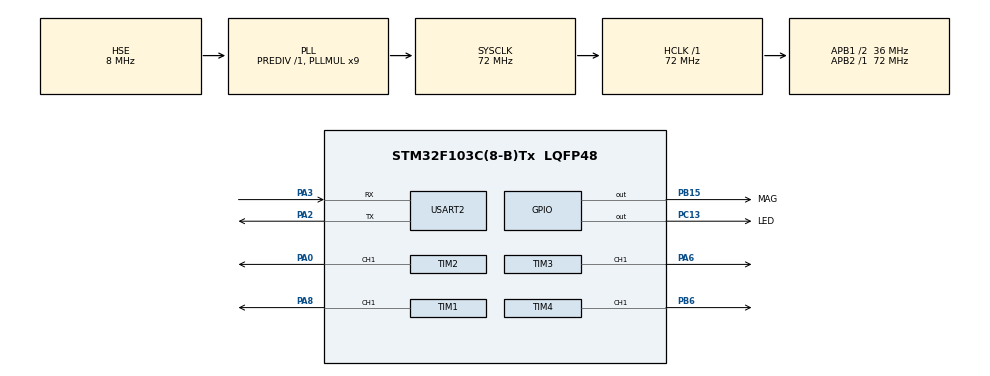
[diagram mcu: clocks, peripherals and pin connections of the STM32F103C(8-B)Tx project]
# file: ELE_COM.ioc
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Mcu.Family=STM32F1
Mcu.Name=STM32F103C(8-B)Tx
Mcu.Package=LQFP48
NVIC.PriorityGroup=NVIC_PRIORITYGROUP_4
NVIC.USART2_IRQn=true\:0\:0\:false\:false\:true\:true\:true\:true
PA0-WKUP.Signal=S_TIM2_CH1_ETR
PA13.Mode=Serial_Wire
PA13.Signal=SYS_JTMS-SWDIO
PA14.Mode=Serial_Wire
PA14.Signal=SYS_JTCK-SWCLK
PA2.Mode=Asynchronous
PA2.Signal=USART2_TX
PA3.Mode=Asynchronous
PA3.Signal=USART2_RX
PA6.Signal=S_TIM3_CH1
PA8.Signal=S_TIM1_CH1
PB15.GPIO_Label=MAG
PB15.Signal=GPIO_Output
PB6.Signal=S_TIM4_CH1
PC13-TAMPER-RTC.GPIO_Label=LED
PC13-TAMPER-RTC.Signal=GPIO_Output
PD0-OSC_IN.Mode=HSE-External-Oscillator
PD0-OSC_IN.Signal=RCC_OSC_IN
PD1-OSC_OUT.Mode=HSE-External-Oscillator
PD1-OSC_OUT.Signal=RCC_OSC_OUT
ProjectManager.HeapSize=0x200
ProjectManager.StackSize=0x400
ProjectManager.TargetToolchain=STM32CubeIDE
RCC.AHBFreq_Value=72000000
RCC.APB1CLKDivider=RCC_HCLK_DIV2
RCC.APB1Freq_Value=36000000
RCC.APB1TimFreq_Value=72000000
RCC.APB2Freq_Value=72000000
RCC.APB2TimFreq_Value=72000000
RCC.HCLKFreq_Value=72000000
RCC.PLLMUL=RCC_PLL_MUL9
RCC.PLLSourceVirtual=RCC_PLLSOURCE_HSE
RCC.SYSCLKFreq_VALUE=72000000
RCC.SYSCLKSource=RCC_SYSCLKSOURCE_PLLCLK
RCC.USBFreq_Value=72000000
SH.S_TIM1_CH1.0=TIM1_CH1,PWM Generation1 CH1
SH.S_TIM2_CH1_ETR.0=TIM2_CH1,PWM Generation1 CH1
SH.S_TIM3_CH1.0=TIM3_CH1,PWM Generation1 CH1
SH.S_TIM4_CH1.0=TIM4_CH1,PWM Generation1 CH1
TIM1.Channel-PWM\ Generation1\ CH1=TIM_CHANNEL_1
TIM1.Period=399
TIM1.Prescaler=3599
TIM2.Channel-PWM\ Generation1\ CH1=TIM_CHANNEL_1
TIM2.Period=399
TIM2.Prescaler=3599
TIM3.Channel-PWM\ Generation1\ CH1=TIM_CHANNEL_1
TIM3.Period=399
TIM3.Prescaler=3599
TIM4.Channel-PWM\ Generation1\ CH1=TIM_CHANNEL_1
TIM4.Period=399
TIM4.Prescaler=3599
USART2.VirtualMode=VM_ASYNC
board=custom

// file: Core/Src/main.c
/* USER CODE BEGIN Header */
/**
  ******************************************************************************
  * @file           : main.c
  * @brief          : Main program body
  ******************************************************************************
  * @attention
  *
  * Copyright (c) 2024 STMicroelectronics.
  * All rights reserved.
  *
  * This software is licensed under terms that can be found in the LICENSE file
  * in the root directory of this software component.
  * If no LICENSE file comes with this software, it is provided AS-IS.
  *
  ******************************************************************************
  */
/* USER CODE END Header */
#include "main.h"
#include "tim.h"
#include "usart.h"
#include "gpio.h"

/* USER CODE BEGIN Includes */

#include "Kine.h"
#include "servo.h"
#include "stm32f1xx_ll_rcc.h"

/* USER CODE END Includes */

void SystemClock_Config(void);

/* USER CODE BEGIN 0 */
//70 32 32 32 32 32 32 FF FF FF
uint8_t data[5] = {0};
/* USER CODE END 0 */

void checkHexArray(uint8_t data[], int length) {

    switch(data[0]) {
    case 0x31:
      Arm_Init();
      HAL_Delay(2000);
      Arm_Move_fake(11);
      HAL_Delay(2000);
      Arm_Move_fake(10);
      HAL_Delay(2000);
      Arm_Init();
      HAL_Delay(2000);
      Arm_Move_fake(5);
      HAL_Delay(2000);
      break;
    case 0x32:
      for(int i = 1; i < length; i++) {
        switch(data[i]) {
        case 0x32:
          Arm_Init();
          HAL_Delay(2000);
          Arm_Move_fake(9+i*2);
          HAL_Delay(2000);
          Arm_Move_fake(8+i*2);
          HAL_Delay(2000);
          Arm_Init();
          HAL_Delay(2000);
          Arm_Move_fake(1);
          HAL_Delay(2000);
          break;
        case 0x33:
          Arm_Init();
          HAL_Delay(2000);
          Arm_Move_fake(9+i*2);
          HAL_Delay(2000);
          Arm_Move_fake(8+i*2);
          HAL_Delay(2000);
          Arm_Init();
          HAL_Delay(2000);
          Arm_Move_fake(2);
          HAL_Delay(2000);
          break;
        case 0x34:
          Arm_Init();
          HAL_Delay(2000);
          Arm_Move_fake(9+i*2);
          HAL_Delay(2000);
          Arm_Move_fake(8+i*2);
          HAL_Delay(2000);
          Arm_Init();
          HAL_Delay(2000);
          Arm_Move_fake(3);
          HAL_Delay(2000);
          break;
        case 0x35:
          Arm_Init();
          HAL_Delay(2000);
          Arm_Move_fake(9+i*2);
          HAL_Delay(2000);
          Arm_Move_fake(8+i*2);
          HAL_Delay(2000);
          Arm_Init();
          HAL_Delay(2000);
          Arm_Move_fake(4);
          HAL_Delay(2000);
          break;
        case 0x36:
          Arm_Init();
          HAL_Delay(2000);
          Arm_Move_fake(9+i*2);
          HAL_Delay(2000);
          Arm_Move_fake(8+i*2);
          HAL_Delay(2000);
          Arm_Init();
          HAL_Delay(2000);
          Arm_Move_fake(5);
          HAL_Delay(2000);
          break;
        case 0x37:
          Arm_Init();
          HAL_Delay(2000);
          Arm_Move_fake(9+i*2);
          HAL_Delay(2000);
          Arm_Move_fake(8+i*2);
          HAL_Delay(2000);
          Arm_Init();
          HAL_Delay(2000);
          Arm_Move_fake(6);
          HAL_Delay(2000);
          break;
        case 0x38:
          Arm_Init();
          HAL_Delay(2000);
          Arm_Move_fake(9+i*2);
          HAL_Delay(2000);
          Arm_Move_fake(8+i*2);
          HAL_Delay(2000);
          Arm_Init();
          HAL_Delay(2000);
          Arm_Move_fake(7);
          HAL_Delay(2000);
          break;
        case 0x39:
          Arm_Init();
          HAL_Delay(2000);
          Arm_Move_fake(9+i*2);
          HAL_Delay(2000);
          Arm_Move_fake(8+i*2);
          HAL_Delay(2000);
          Arm_Init();
          HAL_Delay(2000);
          Arm_Move_fake(8);
          HAL_Delay(2000);
          break;
        case 0x09:
          Arm_Init();
          HAL_Delay(2000);
          Arm_Move_fake(9+i*2);
          HAL_Delay(2000);
          Arm_Move_fake(8+i*2);
          HAL_Delay(2000);
          Arm_Init();
          HAL_Delay(2000);
          Arm_Move_fake(9);
          HAL_Delay(2000);
          break;
        }
      }
      break;
    }

}

int main(void)
{

  /* MCU Configuration--------------------------------------------------------*/

  /* Reset of all peripherals, Initializes the Flash interface and the Systick. */
  HAL_Init();

  /* Configure the system clock */
  SystemClock_Config();

  /* Initialize all configured peripherals */
  MX_GPIO_Init();
  MX_TIM1_Init();
  MX_TIM2_Init();
  MX_TIM3_Init();
  MX_TIM4_Init();
  MX_USART2_UART_Init();
  /* USER CODE BEGIN 2 */
  Servo_Init();
  HAL_UART_Transmit(&huart2,"enter start to start\n",21,0xff);
  //HAL_UART_Receive_IT(&huart2,data,5);
  // unsigned char data[5] = {0};
  // HAL_TIM_PWM_Start(&htim1,TIM_CHANNEL_2);
  /* USER CODE END 2 */

  /* Infinite loop */
  /* USER CODE BEGIN WHILE */
  while (1)
  {

     Arm_Init();
     HAL_Delay(2000);
     Arm_Move_fake(11);
     HAL_Delay(2000);
     Arm_Move_fake(10);
     HAL_Delay(2000);
     Arm_Init();
     HAL_Delay(2000);
     Arm_Move_fake(5);
     HAL_Delay(2000);

    //  __HAL_TIM_SetCompare(&htim1,TIM_CHANNEL_2,99);

    // HAL_UART_Receive(&huart2,data,5,0xff);
    // HAL_UART_Transmit(&huart2,data,5,0xff);
    // HAL_Delay(20);
    // checkHexArray(data, 5);

    //  HAL_UART_Transmit(&huart2,data,5,0xff);
    //  HAL_Delay(200);
    // Arm_Init();
    // Arm_Test();

    //Arm_Exe();
    //Arm_Init();

    // __HAL_TIM_SetCompare(&htim1,TIM_CHANNEL_2,99);
    // HAL_UART_Receive(&huart2,data,5,0xff);
    // HAL_Delay(20);
    // HAL_UART_Transmit(&huart2,data,5,0xff);
    // HAL_Delay(200);
    //Arm_Init();
     //Arm_Test();
    // switch (data[0])
    // {
    // case '1':
    //   Arm_Exe_1();
    //   data[0] = 0;
    //   break;
    // case '2':
    //   Arm_Exe_2(data);
    //   data[0] = 0;
    //   break;
    // case '3':
    //   Arm_Exe_3();
    //   break;
    // default:
    //   HAL_GPIO_TogglePin(LED_GPIO_Port,LED_Pin);
    //   HAL_Delay(200);
    //   break;
    // }

    //Arm_Exe();
    //Arm_Init();
    /* USER CODE END WHILE */

  }
}

void SystemClock_Config(void)
{
  RCC_OscInitTypeDef RCC_OscInitStruct = {0};
  RCC_ClkInitTypeDef RCC_ClkInitStruct = {0};

  /** Initializes the RCC Oscillators according to the specified parameters
  * in the RCC_OscInitTypeDef structure.
  */
  RCC_OscInitStruct.OscillatorType = RCC_OSCILLATORTYPE_HSE;
  RCC_OscInitStruct.HSEState = RCC_HSE_ON;
  RCC_OscInitStruct.HSEPredivValue = RCC_HSE_PREDIV_DIV1;
  RCC_OscInitStruct.HSIState = RCC_HSI_ON;
  RCC_OscInitStruct.PLL.PLLState = RCC_PLL_ON;
  RCC_OscInitStruct.PLL.PLLSource = RCC_PLLSOURCE_HSE;
  RCC_OscInitStruct.PLL.PLLMUL = RCC_PLL_MUL9;
  if (HAL_RCC_OscConfig(&RCC_OscInitStruct) != HAL_OK)
  {
    Error_Handler();
  }

  /** Initializes the CPU, AHB and APB buses clocks
  */
  RCC_ClkInitStruct.ClockType = RCC_CLOCKTYPE_HCLK|RCC_CLOCKTYPE_SYSCLK
                              |RCC_CLOCKTYPE_PCLK1|RCC_CLOCKTYPE_PCLK2;
  RCC_ClkInitStruct.SYSCLKSource = RCC_SYSCLKSOURCE_PLLCLK;
  RCC_ClkInitStruct.AHBCLKDivider = RCC_SYSCLK_DIV1;
  RCC_ClkInitStruct.APB1CLKDivider = RCC_HCLK_DIV2;
  RCC_ClkInitStruct.APB2CLKDivider = RCC_HCLK_DIV1;

  if (HAL_RCC_ClockConfig(&RCC_ClkInitStruct, FLASH_LATENCY_2) != HAL_OK)
  {
    Error_Handler();
  }
}

/* USER CODE BEGIN 4 */
void HAL_UART_RxCpltCallback(UART_HandleTypeDef *huart)
{
  if(huart == &huart2)
  {
    HAL_UART_Receive(&huart2,data,5,0xff);
  }
}
/* USER CODE END 4 */

void Error_Handler(void)
{
  __disable_irq();
  while (1)
  {
  }
}
